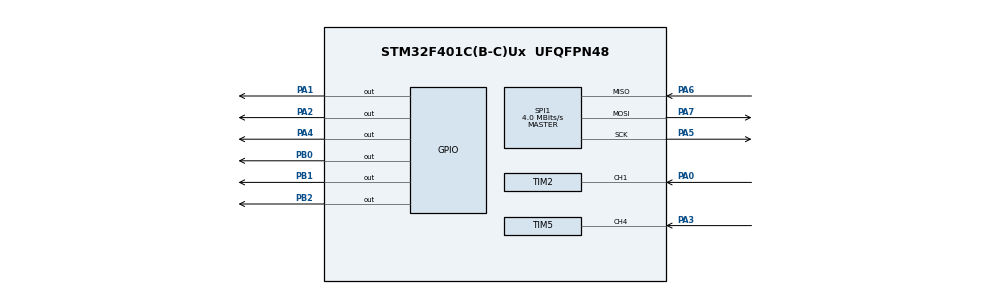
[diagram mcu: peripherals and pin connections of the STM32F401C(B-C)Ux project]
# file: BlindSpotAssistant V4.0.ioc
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FREERTOS.Tasks01=UltrasonicTask,0,128,triggerUltrasonic_1_Task,Default,NULL,Dynamic,NULL,NULL;Task2,0,128,indecateOnLED_1_Task,Default,NULL,Dynamic,NULL,NULL;UItraSonic,0,128,triggerUltrasonic_2_Task,Default,NULL,Dynamic,NULL,NULL;myTask04,0,128,indecateOnLED_2_Task,Default,NULL,Dynamic,NULL,NULL
Mcu.Family=STM32F4
Mcu.Name=STM32F401C(B-C)Ux
Mcu.Package=UFQFPN48
NVIC.PriorityGroup=NVIC_PRIORITYGROUP_4
NVIC.TIM1_UP_TIM10_IRQn=true\:15\:0\:false\:false\:true\:false\:false\:true\:true
NVIC.TIM2_IRQn=true\:5\:0\:false\:false\:true\:true\:true\:true\:true
NVIC.TIM5_IRQn=true\:5\:0\:false\:false\:true\:true\:true\:true\:true
NVIC.TimeBase=TIM1_UP_TIM10_IRQn
NVIC.TimeBaseIP=TIM1
PA0-WKUP.Signal=S_TIM2_CH1_ETR
PA1.Signal=GPIO_Output
PA2.Signal=GPIO_Output
PA3.Signal=S_TIM5_CH4
PA4.Signal=GPIO_Output
PA5.Mode=Full_Duplex_Master
PA5.Signal=SPI1_SCK
PA6.Mode=Full_Duplex_Master
PA6.Signal=SPI1_MISO
PA7.Mode=Full_Duplex_Master
PA7.Signal=SPI1_MOSI
PB0.Signal=GPIO_Output
PB1.Signal=GPIO_Output
PB2.Signal=GPIO_Output
ProjectManager.HeapSize=0x200
ProjectManager.StackSize=0x400
ProjectManager.TargetToolchain=STM32CubeIDE
RCC.AHBCLKDivider=RCC_SYSCLK_DIV2
RCC.AHBFreq_Value=8000000
RCC.APB1Freq_Value=8000000
RCC.APB1TimFreq_Value=8000000
RCC.APB2Freq_Value=8000000
RCC.APB2TimFreq_Value=8000000
RCC.CortexFreq_Value=8000000
RCC.HCLKFreq_Value=8000000
RCC.HSE_VALUE=25000000
RCC.HSI_VALUE=16000000
RCC.LSE_VALUE=32768
RCC.SYSCLKFreq_VALUE=16000000
RCC.VCOOutputFreq_Value=192000000
SH.S_TIM2_CH1_ETR.0=TIM2_CH1,Input_Capture1_from_TI1
SH.S_TIM5_CH4.0=TIM5_CH4,Input_Capture4_from_TI4
SPI1.CalculateBaudRate=4.0 MBits/s
SPI1.Direction=SPI_DIRECTION_2LINES
SPI1.Mode=SPI_MODE_MASTER
SPI1.VirtualType=VM_MASTER
TIM2.Channel-Input_Capture1_from_TI1=TIM_CHANNEL_1
TIM2.ICPolarity_CH1=TIM_INPUTCHANNELPOLARITY_BOTHEDGE
TIM2.Period=65535
TIM2.Prescaler=15
TIM5.Channel-Input_Capture4_from_TI4=TIM_CHANNEL_4
TIM5.ICPolarity_CH4=TIM_INPUTCHANNELPOLARITY_BOTHEDGE
TIM5.Period=65535
TIM5.Prescaler=15
VP_FREERTOS_VS_CMSIS_V1.Mode=CMSIS_V1
VP_SYS_VS_tim1.Mode=TIM1
VP_TIM2_VS_ClockSourceINT.Mode=Internal
VP_TIM5_VS_ClockSourceINT.Mode=Internal
board=custom

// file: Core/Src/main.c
/* USER CODE BEGIN Header */
/**
 ******************************************************************************
 * @file           : main.c
 * @brief          : Main program body
 ******************************************************************************
 * @attention
 *
 * Copyright (c) 2023 STMicroelectronics.
 * All rights reserved.
 *
 * This software is licensed under terms that can be found in the LICENSE file
 * in the root directory of this software component.
 * If no LICENSE file comes with this software, it is provided AS-IS.
 *
 ******************************************************************************
 */
/* USER CODE END Header */
#include "main.h"
#include "cmsis_os.h"

SPI_HandleTypeDef hspi1;

TIM_HandleTypeDef htim2;
TIM_HandleTypeDef htim5;

osThreadId UltrasonicTaskHandle;
osThreadId Task2Handle;
osThreadId UItraSonicHandle;
osThreadId myTask04Handle;

void SystemClock_Config(void);
static void MX_GPIO_Init(void);
static void MX_TIM2_Init(void);
static void MX_TIM5_Init(void);
static void MX_SPI1_Init(void);
void triggerUltrasonic_1_Task(void const * argument);
void indecateOnLED_1_Task(void const * argument);
void triggerUltrasonic_2_Task(void const * argument);
void indecateOnLED_2_Task(void const * argument);
void EnableUltrasonic_1_TimerInterrutp (void);
void EnableUltrasonic_2_TimerInterrutp (void);

/* USER CODE BEGIN 0 */

volatile int distance_u1=0;
volatile int distance_u2=0;

volatile int flag_timer2=0,t1_timer2,t2_timer2,time_timer2;
volatile int flag_timer5=0,t1_timer5,t2_timer5,time_timer5;

#define TRIG_PIN_U1      			GPIO_PIN_1
#define TRIG_PIN_U2      			GPIO_PIN_4

#define TRIG_PORT_U1     			GPIOA
#define TRIG_PORT_U2     			GPIOA

#define LED_PIN_U1       			GPIO_PIN_2
#define LED_PIN_U2       			GPIO_PIN_0

#define LED_PORT_U1      			GPIOA
#define LED_PORT_U2      			GPIOB

#define NEAR_OBJECT_THRESHOLD   	20

#define FIRST_DELAY_U1    			50
#define FIRST_DELAY_U2    			60
#define SECOND_DELAY_U2    			110

//ISR for timer ICU
void HAL_TIM_IC_CaptureCallback(TIM_HandleTypeDef *htim)
{
	// checking on timer ICU interrupt source if TIM2 or TIM 5
	if (htim->Instance == TIM2)
	{
		// Check if the callback is triggered by the correct timer (TIMx)
		if (htim->Channel == HAL_TIM_ACTIVE_CHANNEL_1)
		{
			if (flag_timer2==0)
			{
				t1_timer2=HAL_TIM_ReadCapturedValue(htim, TIM_CHANNEL_1);

				flag_timer2++;
			}
			else if(flag_timer2==1)
			{
				t2_timer2=HAL_TIM_ReadCapturedValue(htim, TIM_CHANNEL_1);
				if(t2_timer2>t1_timer2)
				{
					time_timer2=t2_timer2-t1_timer2;
				}
				else if(t1_timer2>t2_timer2)
				{
					time_timer2 = ((0xffff-t1_timer2)+t2_timer2)+1;
				}
				distance_u1=(((int)time_timer2*340*100)/((int)2*1000000))+1;

				// Ensure that the distance is within the range (0 to 50 cm)
				if (distance_u1 > 500)
				{
					distance_u1 = 500;
				}
				else if (distance_u1<0)
				{
					distance_u1=0;
				}
				flag_timer2=0;

			}

		}
	}

	if (htim->Instance == TIM5)
	{
		// Check if the callback is triggered by the correct timer (TIMx)
		if (htim->Channel == HAL_TIM_ACTIVE_CHANNEL_4)
		{
			if (flag_timer5==0)
			{
				t1_timer5=HAL_TIM_ReadCapturedValue(htim, TIM_CHANNEL_4);

				flag_timer5++;
			}
			else if(flag_timer5==1)
			{
				t2_timer5=HAL_TIM_ReadCapturedValue(htim, TIM_CHANNEL_4);
				if(t2_timer5>t1_timer5)
				{
					time_timer5=t2_timer5-t1_timer5;
				}
				else if(t1_timer5>t2_timer5)
				{
					time_timer5 = ((0xffff-t1_timer5)+t2_timer5)+1;
				}
				distance_u2=(((int)time_timer5*340*100)/((int)2*1000000))+1;
				//Ensure distance is within the desired range (0 to 50 cm)
				if (distance_u2 > 500)
				{
					distance_u2 = 500;
				}
				else if (distance_u2<0)
				{
					distance_u2=0;
				}
				flag_timer5=0;
			}
		}
	}
}

	/* USER CODE END 0 */

	/**
	 * @brief  The application entry point.
	 * @retval int
	 */
	int main(void)
	{

		/* MCU Configuration--------------------------------------------------------*/

		/* Reset of all peripherals, Initializes the Flash interface and the Systick. */
		HAL_Init();

		/* Configure the system clock */
		SystemClock_Config();

		/* Initialize all configured peripherals */
		MX_GPIO_Init();
		MX_TIM2_Init();
		MX_TIM5_Init();
		MX_SPI1_Init();
		/* USER CODE BEGIN 2 */
		EnableUltrasonic_1_TimerInterrutp();
		EnableUltrasonic_2_TimerInterrutp();

		/* USER CODE END 2 */

		/* Create the thread(s) */
		/* definition and creation of UltrasonicTask */
		osThreadDef(UltrasonicTask, triggerUltrasonic_1_Task, osPriorityNormal, 0, 128);
		UltrasonicTaskHandle = osThreadCreate(osThread(UltrasonicTask), NULL);

		/* definition and creation of Task2 */
		osThreadDef(Task2, indecateOnLED_1_Task, osPriorityNormal, 0, 128);
		Task2Handle = osThreadCreate(osThread(Task2), NULL);

		/* definition and creation of UItraSonic */
		osThreadDef(UItraSonic, triggerUltrasonic_2_Task, osPriorityNormal, 0, 128);
		UItraSonicHandle = osThreadCreate(osThread(UItraSonic), NULL);

		/* definition and creation of myTask04 */
		osThreadDef(myTask04, indecateOnLED_2_Task, osPriorityNormal, 0, 128);
		myTask04Handle = osThreadCreate(osThread(myTask04), NULL);

		/* Start scheduler */
		osKernelStart();

		/* We should never get here as control is now taken by the scheduler */
		/* Infinite loop */
		while (1)
		{

		}
	}

	/**
	 * @brief System Clock Configuration
	 * @retval None
	 */
	void SystemClock_Config(void)
	{
		RCC_OscInitTypeDef RCC_OscInitStruct = {0};
		RCC_ClkInitTypeDef RCC_ClkInitStruct = {0};

		/** Configure the main internal regulator output voltage
		 */
		__HAL_RCC_PWR_CLK_ENABLE();
		__HAL_PWR_VOLTAGESCALING_CONFIG(PWR_REGULATOR_VOLTAGE_SCALE2);

		/** Initializes the RCC Oscillators according to the specified parameters
		 * in the RCC_OscInitTypeDef structure.
		 */
		RCC_OscInitStruct.OscillatorType = RCC_OSCILLATORTYPE_HSI|RCC_OSCILLATORTYPE_LSI;
		RCC_OscInitStruct.HSIState = RCC_HSI_ON;
		RCC_OscInitStruct.HSICalibrationValue = RCC_HSICALIBRATION_DEFAULT;
		RCC_OscInitStruct.LSIState = RCC_LSI_ON;
		RCC_OscInitStruct.PLL.PLLState = RCC_PLL_NONE;
		if (HAL_RCC_OscConfig(&RCC_OscInitStruct) != HAL_OK)
		{
			Error_Handler();
		}

		/** Initializes the CPU, AHB and APB buses clocks
		 */
		RCC_ClkInitStruct.ClockType = RCC_CLOCKTYPE_HCLK|RCC_CLOCKTYPE_SYSCLK
				|RCC_CLOCKTYPE_PCLK1|RCC_CLOCKTYPE_PCLK2;
		RCC_ClkInitStruct.SYSCLKSource = RCC_SYSCLKSOURCE_HSI;
		RCC_ClkInitStruct.AHBCLKDivider = RCC_SYSCLK_DIV2;
		RCC_ClkInitStruct.APB1CLKDivider = RCC_HCLK_DIV1;
		RCC_ClkInitStruct.APB2CLKDivider = RCC_HCLK_DIV1;

		if (HAL_RCC_ClockConfig(&RCC_ClkInitStruct, FLASH_LATENCY_0) != HAL_OK)
		{
			Error_Handler();
		}
	}

	/**
	 * @brief SPI1 Initialization Function
	 * @param None
	 * @retval None
	 */
	static void MX_SPI1_Init(void)
	{

		/* SPI1 parameter configuration*/
		hspi1.Instance = SPI1;
		hspi1.Init.Mode = SPI_MODE_MASTER;
		hspi1.Init.Direction = SPI_DIRECTION_2LINES;
		hspi1.Init.DataSize = SPI_DATASIZE_8BIT;
		hspi1.Init.CLKPolarity = SPI_POLARITY_LOW;
		hspi1.Init.CLKPhase = SPI_PHASE_1EDGE;
		hspi1.Init.NSS = SPI_NSS_SOFT;
		hspi1.Init.BaudRatePrescaler = SPI_BAUDRATEPRESCALER_2;
		hspi1.Init.FirstBit = SPI_FIRSTBIT_MSB;
		hspi1.Init.TIMode = SPI_TIMODE_DISABLE;
		hspi1.Init.CRCCalculation = SPI_CRCCALCULATION_DISABLE;
		hspi1.Init.CRCPolynomial = 10;
		if (HAL_SPI_Init(&hspi1) != HAL_OK)
		{
			Error_Handler();
		}

	}

	/**
	 * @brief TIM2 Initialization Function
	 * @param None
	 * @retval None
	 */
	static void MX_TIM2_Init(void)
	{

		TIM_ClockConfigTypeDef sClockSourceConfig = {0};
		TIM_MasterConfigTypeDef sMasterConfig = {0};
		TIM_IC_InitTypeDef sConfigIC = {0};

		htim2.Instance = TIM2;
		htim2.Init.Prescaler = 15;
		htim2.Init.CounterMode = TIM_COUNTERMODE_UP;
		htim2.Init.Period = 65535;
		htim2.Init.ClockDivision = TIM_CLOCKDIVISION_DIV1;
		htim2.Init.AutoReloadPreload = TIM_AUTORELOAD_PRELOAD_DISABLE;
		if (HAL_TIM_Base_Init(&htim2) != HAL_OK)
		{
			Error_Handler();
		}
		sClockSourceConfig.ClockSource = TIM_CLOCKSOURCE_INTERNAL;
		if (HAL_TIM_ConfigClockSource(&htim2, &sClockSourceConfig) != HAL_OK)
		{
			Error_Handler();
		}
		if (HAL_TIM_IC_Init(&htim2) != HAL_OK)
		{
			Error_Handler();
		}
		sMasterConfig.MasterOutputTrigger = TIM_TRGO_RESET;
		sMasterConfig.MasterSlaveMode = TIM_MASTERSLAVEMODE_DISABLE;
		if (HAL_TIMEx_MasterConfigSynchronization(&htim2, &sMasterConfig) != HAL_OK)
		{
			Error_Handler();
		}
		sConfigIC.ICPolarity = TIM_INPUTCHANNELPOLARITY_BOTHEDGE;
		sConfigIC.ICSelection = TIM_ICSELECTION_DIRECTTI;
		sConfigIC.ICPrescaler = TIM_ICPSC_DIV1;
		sConfigIC.ICFilter = 0;
		if (HAL_TIM_IC_ConfigChannel(&htim2, &sConfigIC, TIM_CHANNEL_1) != HAL_OK)
		{
			Error_Handler();
		}

	}

	/**
	 * @brief TIM5 Initialization Function
	 * @param None
	 * @retval None
	 */
	static void MX_TIM5_Init(void)
	{

		TIM_ClockConfigTypeDef sClockSourceConfig = {0};
		TIM_MasterConfigTypeDef sMasterConfig = {0};
		TIM_IC_InitTypeDef sConfigIC = {0};

		htim5.Instance = TIM5;
		htim5.Init.Prescaler = 15;
		htim5.Init.CounterMode = TIM_COUNTERMODE_UP;
		htim5.Init.Period = 65535;
		htim5.Init.ClockDivision = TIM_CLOCKDIVISION_DIV1;
		htim5.Init.AutoReloadPreload = TIM_AUTORELOAD_PRELOAD_DISABLE;
		if (HAL_TIM_Base_Init(&htim5) != HAL_OK)
		{
			Error_Handler();
		}
		sClockSourceConfig.ClockSource = TIM_CLOCKSOURCE_INTERNAL;
		if (HAL_TIM_ConfigClockSource(&htim5, &sClockSourceConfig) != HAL_OK)
		{
			Error_Handler();
		}
		if (HAL_TIM_IC_Init(&htim5) != HAL_OK)
		{
			Error_Handler();
		}
		sMasterConfig.MasterOutputTrigger = TIM_TRGO_RESET;
		sMasterConfig.MasterSlaveMode = TIM_MASTERSLAVEMODE_DISABLE;
		if (HAL_TIMEx_MasterConfigSynchronization(&htim5, &sMasterConfig) != HAL_OK)
		{
			Error_Handler();
		}
		sConfigIC.ICPolarity = TIM_INPUTCHANNELPOLARITY_BOTHEDGE;
		sConfigIC.ICSelection = TIM_ICSELECTION_DIRECTTI;
		sConfigIC.ICPrescaler = TIM_ICPSC_DIV1;
		sConfigIC.ICFilter = 0;
		if (HAL_TIM_IC_ConfigChannel(&htim5, &sConfigIC, TIM_CHANNEL_4) != HAL_OK)
		{
			Error_Handler();
		}

	}

	/**
	 * @brief GPIO Initialization Function
	 * @param None
	 * @retval None
	 */
	static void MX_GPIO_Init(void)
	{
		GPIO_InitTypeDef GPIO_InitStruct = {0};

		/* GPIO Ports Clock Enable */
		__HAL_RCC_GPIOA_CLK_ENABLE();
		__HAL_RCC_GPIOB_CLK_ENABLE();

		/*Configure GPIO pin Output Level */
		HAL_GPIO_WritePin(GPIOA, GPIO_PIN_1|GPIO_PIN_2|GPIO_PIN_4, GPIO_PIN_RESET);

		/*Configure GPIO pin Output Level */
		HAL_GPIO_WritePin(GPIOB, GPIO_PIN_0|GPIO_PIN_1|GPIO_PIN_2, GPIO_PIN_RESET);

		/*Configure GPIO pins : PA1 PA2 PA4 */
		GPIO_InitStruct.Pin = GPIO_PIN_1|GPIO_PIN_2|GPIO_PIN_4;
		GPIO_InitStruct.Mode = GPIO_MODE_OUTPUT_PP;
		GPIO_InitStruct.Pull = GPIO_NOPULL;
		GPIO_InitStruct.Speed = GPIO_SPEED_FREQ_LOW;
		HAL_GPIO_Init(GPIOA, &GPIO_InitStruct);

		/*Configure GPIO pins : PB0 PB1 PB2 */
		GPIO_InitStruct.Pin = GPIO_PIN_0|GPIO_PIN_1|GPIO_PIN_2;
		GPIO_InitStruct.Mode = GPIO_MODE_OUTPUT_PP;
		GPIO_InitStruct.Pull = GPIO_NOPULL;
		GPIO_InitStruct.Speed = GPIO_SPEED_FREQ_LOW;
		HAL_GPIO_Init(GPIOB, &GPIO_InitStruct);

	}

	/* USER CODE BEGIN 4 */
	void EnableUltrasonic_1_TimerInterrutp (void)
	{
		__enable_irq(); // enable global interrupt
		HAL_TIM_IC_Start_IT(&htim2, TIM_CHANNEL_1); // enable timer2
	}
	void EnableUltrasonic_2_TimerInterrutp (void)
	{
		__enable_irq(); // enable global interrupt
		HAL_TIM_IC_Start_IT(&htim5, TIM_CHANNEL_4); // enable timer5
	}

	/* USER CODE END 4 */

	void triggerUltrasonic_1_Task(void const * argument)
	{
		/* USER CODE BEGIN 5 */
		/* Infinite loop */
		while(1)
		{
			// Trigger ultrasonic sensor
			//enable trigger for ultrasonic_1
			HAL_GPIO_WritePin(TRIG_PORT_U1, TRIG_PIN_U1,GPIO_PIN_SET);
			for( int i=0;i<80;i++); //delay for 10 us //put no ass operation
			HAL_GPIO_WritePin(TRIG_PORT_U1, TRIG_PIN_U1,GPIO_PIN_RESET);
			vTaskDelay(120);
		}
		/* USER CODE END 5 */
	}

	void indecateOnLED_1_Task(void const * argument)
	{
		/* USER CODE BEGIN indecateOnLED_1_Task */
		/* Infinite loop */
		vTaskDelay(FIRST_DELAY_U1); // first delay : time between trigger and getting read
		/* Infinite loop */
		for(;;)
		{
			// Check if an object is near

			// if there is something near ultrasonic1 the led will be on
			if(distance_u1<NEAR_OBJECT_THRESHOLD)
			{
				HAL_GPIO_WritePin(LED_PORT_U1, LED_PIN_U1,GPIO_PIN_SET);
			}
			else
			{
				HAL_GPIO_WritePin(LED_PORT_U1, LED_PIN_U1,GPIO_PIN_RESET);
			}
			vTaskDelay(120);
		}
		/* USER CODE END indecateOnLED_1_Task */
	}

	void triggerUltrasonic_2_Task(void const * argument)
	{
		/* USER CODE BEGIN triggerUltrasonic_2_Task */
		vTaskDelay(FIRST_DELAY_U2);
		/* Infinite loop */
		while(1)
		{
			// Trigger ultrasonic sensor
			//enable trigger for ultrasonic_2
			HAL_GPIO_WritePin(TRIG_PORT_U2, TRIG_PIN_U2,GPIO_PIN_SET);
			for( int i=0;i<80;i++); //delay for 10 us //put no ass operation
			HAL_GPIO_WritePin(TRIG_PORT_U2, TRIG_PIN_U2,GPIO_PIN_RESET);
			vTaskDelay(120);
		}
		/* USER CODE END triggerUltrasonic_2_Task */
	}

	void indecateOnLED_2_Task(void const * argument)
	{
		/* USER CODE BEGIN indecateOnLED_2_Task */
		vTaskDelay(SECOND_DELAY_U2);
		/* Infinite loop */
		for(;;)
		{
			// if there is something near ultrasonic2 the led will be on
			if(distance_u2<NEAR_OBJECT_THRESHOLD)
			{
				HAL_GPIO_WritePin(LED_PORT_U2, LED_PIN_U2,GPIO_PIN_SET);
			}
			else
			{
				HAL_GPIO_WritePin(LED_PORT_U2, LED_PIN_U2,GPIO_PIN_RESET);
			}
			vTaskDelay(120);
			/* USER CODE END indecateOnLED_2_Task */
		}
	}

	/**
	 * @brief  Period elapsed callback in non blocking mode
	 * @note   This function is called  when TIM1 interrupt took place, inside
	 * HAL_TIM_IRQHandler(). It makes a direct call to HAL_IncTick() to increment
	 * a global variable "uwTick" used as application time base.
	 * @param  htim : TIM handle
	 * @retval None
	 */
	void HAL_TIM_PeriodElapsedCallback(TIM_HandleTypeDef *htim)
	{
		if (htim->Instance == TIM1) {
			HAL_IncTick();
		}
	}

	/**
	 * @brief  This function is executed in case of error occurrence.
	 * @retval None
	 */
	void Error_Handler(void)
	{
		__disable_irq();
		while (1)
		{
		}
	}
